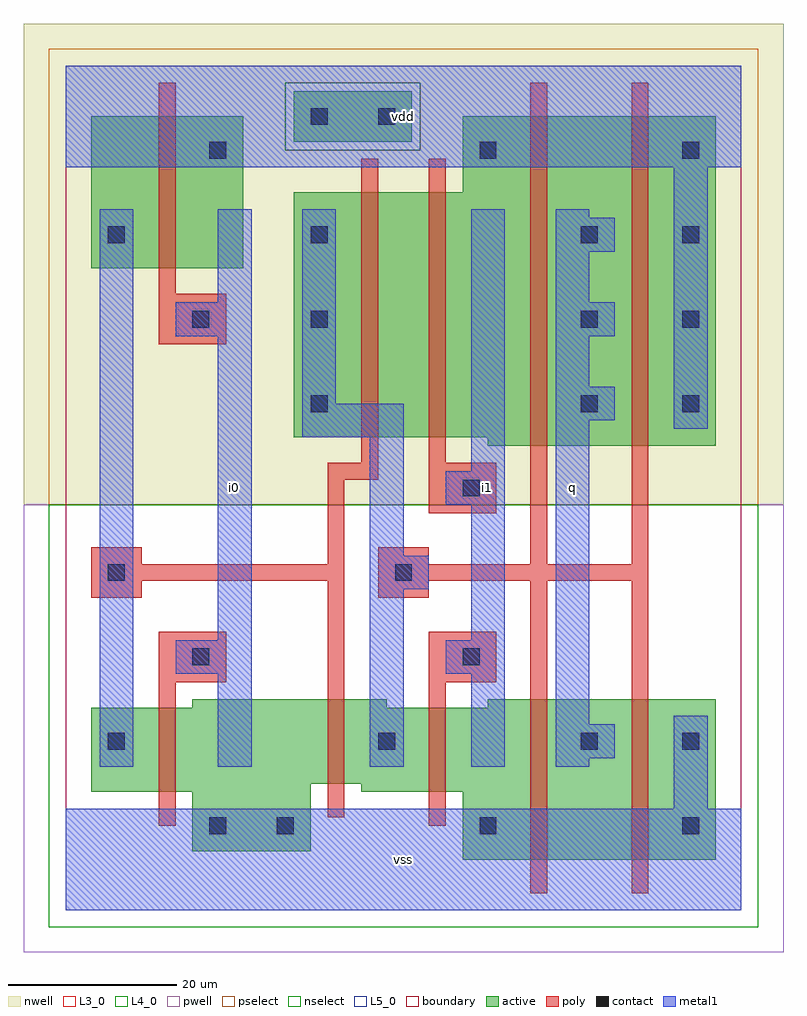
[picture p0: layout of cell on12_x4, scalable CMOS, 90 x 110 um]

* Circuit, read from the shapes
.subckt on12_x4 i0 i1 q vdd vss
M1 vss i0 n1 VSUBS nfet w=10u l=2u
M2 n2 n1 vss VSUBS nfet w=10u l=2u
M3 vss i1 n2 VSUBS nfet w=10u l=2u
M4 q n2 vss VSUBS nfet w=19u l=2u m=2
M5 vdd i0 n1 vdd pfet w=18u l=2u
M6 n3 n1 n2 vdd pfet w=29u l=2u
M7 vdd i1 n3 vdd pfet w=29u l=2u
M8 q n2 vdd vdd pfet w=39u l=2u m=2
.ends

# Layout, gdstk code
import gdstk
lib = gdstk.Library(unit=1e-6, precision=1e-09)
def R(c, l, rs):  # rectangles x0, y0, x1, y1
    for r in rs: c.add(gdstk.rectangle(r[:2], r[2:], *l))
def A(c, l, x, y, w, h, nx, ny, dx, dy):  # array of equal rectangles
    R(c, l, [(x+i*dx, y+j*dy, x+i*dx+w, y+j*dy+h) for i in range(nx) for j in range(ny)])
L3_0 = (3, 0)
L4_0 = (4, 0)
L5_0 = (5, 0)
contact = (25, 0)
pwell = (41, 0)
nwell = (42, 0)
active = (43, 0)
pselect = (44, 0)
nselect = (45, 0)
poly = (46, 0)
metal1 = (49, 0)
boundary = (63, 0)

on12_x4 = lib.new_cell('on12_x4')
R(on12_x4, L3_0, [(47,6,77,14), (15,7,29,14), (3,14,29,15), (35,14,77,15), (3,15,77,24), (15,24,38,25), (50,24,77,25)])
R(on12_x4, L4_0, [(50,55,77,56), (27,56,77,85), (3,76,21,94), (47,85,77,94)])
R(on12_x4, L5_0, [(27,91,41,97)])
A(on12_x4, contact, 25, 9, 2, 2, 3, 1, 24, 0)
A(on12_x4, contact, 29, 59, 2, 2, 1, 3, 0, 10)
A(on12_x4, contact, 61, 59, 2, 2, 1, 3, 0, 10)
A(on12_x4, contact, 73, 59, 2, 2, 1, 4, 0, 10)
R(on12_x4, contact, [(17,9,19,11), (5,19,7,21), (37,19,39,21), (61,19,63,21), (73,19,75,21), (15,29,17,31), (47,29,49,31), (5,39,7,41), (39,39,41,41), (47,49,49,51), (15,69,17,71), (5,79,7,81), (17,89,19,91), (49,89,51,91), (29,93,31,95), (37,93,39,95)])
R(on12_x4, pwell, [(-5,-5,85,48)])
R(on12_x4, nwell, [(-5,48,85,105)])
R(on12_x4, active, [(47,6,77,14), (15,7,29,14), (3,14,29,15), (35,14,77,15), (3,15,77,24), (15,24,38,25), (50,24,77,25), (50,55,77,56), (27,56,77,85), (3,76,21,94), (47,85,77,94), (27,91,41,97)])
R(on12_x4, pselect, [(-2,48,82,90), (-2,90,26,98), (42,90,82,98), (-2,98,82,102)])
R(on12_x4, nselect, [(-2,-2,82,48), (26,90,42,98)])
R(on12_x4, poly, [(55,2,57,39), (67,2,69,39), (11,10,13,27), (43,10,45,27), (31,11,33,39), (11,27,19,33), (43,27,51,33), (3,37,9,39), (37,37,43,39), (3,39,33,41), (37,39,69,41), (3,41,9,43), (31,41,33,51), (37,41,43,43), (55,41,57,98), (67,41,69,98), (43,47,51,53), (31,51,37,53), (35,53,37,89), (43,53,45,89), (11,67,19,73), (11,73,13,98)])
A(on12_x4, metal1, 58, 58, 7, 4, 1, 3, 0, 10)
R(on12_x4, metal1, [(0,0,80,12), (72,12,76,23), (4,17,8,83), (18,17,22,28), (36,17,40,38), (48,17,52,28), (58,17,62,18), (58,18,65,22), (58,22,62,58), (13,28,22,32), (45,28,52,32), (18,32,22,68), (48,32,52,48), (36,38,43,42), (36,42,40,56), (45,48,52,52), (48,52,52,83), (28,56,40,60), (72,57,76,88), (28,60,32,83), (58,62,62,68), (13,68,22,72), (18,72,22,83), (58,72,62,78), (58,82,62,83), (0,88,80,100)])
R(on12_x4, boundary, [(0,0,80,100)])
on12_x4.add(gdstk.Label('i0', (20,50), layer=49, texttype=0))
on12_x4.add(gdstk.Label('vss', (40,6), layer=49, texttype=0))
on12_x4.add(gdstk.Label('i1', (50,50), layer=49, texttype=0))
on12_x4.add(gdstk.Label('vdd', (40,94), layer=49, texttype=0))
on12_x4.add(gdstk.Label('q', (60,50), layer=49, texttype=0))

lib.write_gds('on12_x4.gds')
